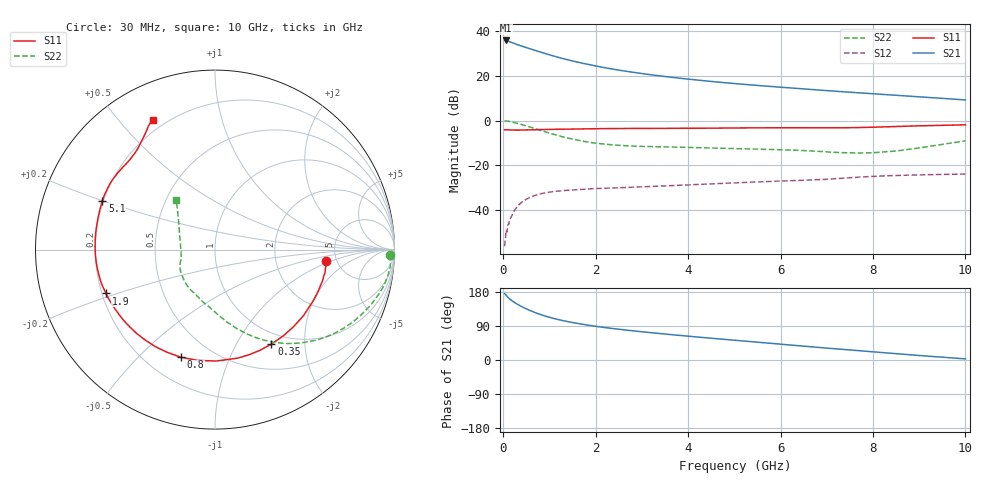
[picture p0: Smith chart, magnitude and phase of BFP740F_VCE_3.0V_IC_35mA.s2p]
! Infineon Technologies  Discrete & RF Semiconductors
! BFP740F
! VCE =  3.0 V,  IC =  35 mA
! Common Emitter S-Parameters:  Oct 2012
# GHz  S  MA  R  50
!  f  S11  S21  S12  S22
! GHz  MAG  ANG  MAG  ANG  MAG  ANG  MAG  ANG
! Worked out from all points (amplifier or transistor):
!   99 points, 30 MHz to 10 GHz, reference 50 ohm
!   highest |S21| = 35.6 dB at 50 MHz (marker M1)
!   |S21| within 3 dB of that: start of sweep to 473.6 MHz
!   unconditionally stable (mu >= 1): 5.078 GHz to end of sweep
!   at 350 MHz: K = 0.20, MSG = 35.4 dB, |S12| = -37.3 dB
!   at 3.5 GHz: K = 0.82, MSG = 24.3 dB, |S12| = -29.1 dB
!   at 10 GHz: K = 1.15, MAG = 14.1 dB, |S12| = -23.8 dB
!   S11 on the Smith chart (normalised r, x): 30 MHz: 4.13, -0.84; 350 MHz: 0.83, -1.41; 800 MHz: 0.34, -0.68; 1.9 GHz: 0.22, -0.18; 5.1 GHz: 0.20, +0.20; 10 GHz: 0.15, +0.62
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0.03  0.6231 -5.7  60.31 175.3  0.0016 90.8  0.9754 -1.8
0.05  0.6243 -9.7  60.52 172.6  0.0024 85.2  0.9801 -4.4
0.07  0.6234 -13.7  60.13 169.9  0.0034 74.2  0.9773 -6.8
0.1  0.6204 -19.2  58.74 165.9  0.0046 75.9  0.9685 -10.1
0.15  0.6163 -28.2  56.22 160.2  0.0065 76.8  0.946 -15.2
0.2  0.6153 -36.5  53.68 155.5  0.0082 74.5  0.9205 -19.7
0.25  0.6133 -44.5  51.47 151.3  0.0103 71.2  0.8935 -23.8
0.35  0.613 -59.2  47.16 144.1  0.0136 65.6  0.8396 -31.5
0.45  0.616 -72.2  43.64 137.9  0.0164 59.9  0.7857 -38.4
0.6  0.621 -89.3  38.91 129.6  0.02 53.5  0.7048 -47.6
0.8  0.6291 -107.6  33.47 120.3  0.0233 46.8  0.6076 -58.0
1  0.6347 -121.8  29.01 112.7  0.0255 41.3  0.5257 -66.7
1.2  0.6394 -133.0  25.37 106.4  0.027 37.9  0.4592 -74.2
1.4  0.6436 -141.9  22.42 101.2  0.0281 35.1  0.4078 -80.7
1.7  0.6495 -152.5  19 94.6  0.0293 32.9  0.3504 -89.5
1.9  0.6545 -158.1  17.21 90.8  0.0303 31.9  0.3237 -95.0
2.6  0.6644 -172.4  12.77 79.8  0.0322 30.5  0.2771 -111.2
3.4  0.6693 175.9  9.824 69.7  0.0348 30.8  0.2606 -122.8
5.1  0.6839 156.5  6.523 51.2  0.0413 31.6  0.236 -139.9
6.7  0.6892 140.2  4.877 34.5  0.0477 31.7  0.2093 -158.2
8.5  0.7361 123.2  3.646 16.7  0.0598 27.4  0.2097 159.5
10  0.8023 115.7  2.875 3.0  0.0644 21.3  0.3517 127.8
